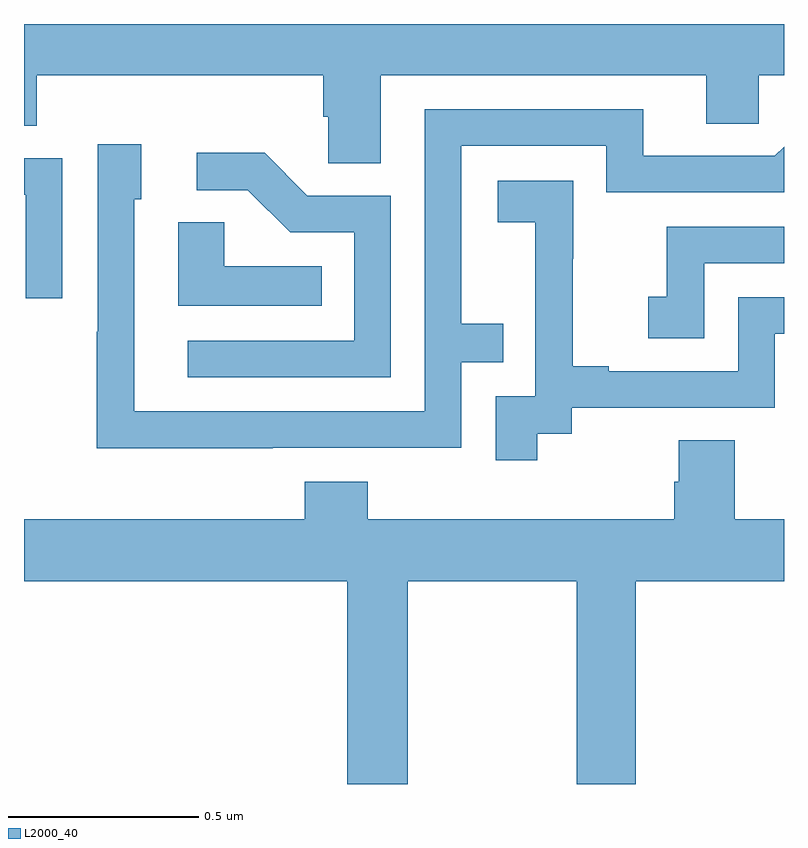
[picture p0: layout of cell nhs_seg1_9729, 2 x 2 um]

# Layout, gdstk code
import gdstk
lib = gdstk.Library(unit=1e-6, precision=1e-09)
def P(c, l, *ps):  # polygons
    for p in ps: c.add(gdstk.Polygon(p, *l))
L2000_40 = (2000, 40)

nhs_seg1_9729 = lib.new_cell('nhs_seg1_9729')
P(nhs_seg1_9729, L2000_40, [(232.939,553.064),(233.795,553.064),(233.795,552.937),(233.934,552.937),(233.934,553.064),(234,553.064),(234,553.199),(232,553.199),(232,552.931),(232.034,552.931),(232.034,553.064),(232.787,553.064),(232.787,552.955),(232.8,552.955),(232.8,552.832),(232.939,552.832)],
  [(232.655,552.084),(233.151,552.084),(233.151,552.309),(233.261,552.309),(233.261,552.41),(233.151,552.41),(233.151,552.879),(233.532,552.879),(233.532,552.756),(234,552.756),(234,552.876),(233.976,552.852),(233.629,552.852),(233.629,552.975),(233.055,552.975),(233.055,552.18),(232.29,552.18),(232.29,552.738),(232.309,552.738),(232.309,552.883),(232.194,552.883),(232.194,552.389),(232.192,552.389),(232.192,552.083),(232.655,552.083)],
  [(232.965,552.747),(232.746,552.747),(232.633,552.86),(232.455,552.86),(232.455,552.762),(232.589,552.762),(232.7,552.651),(232.869,552.651),(232.869,552.366),(232.431,552.366),(232.431,552.27),(232.965,552.27)],
  [(232.101,552.846),(232,552.846),(232,552.75),(232.005,552.75),(232.005,552.477),(232.101,552.477)],
  [(233.35,552.121),(233.442,552.121),(233.442,552.189),(233.976,552.189),(233.976,552.384),(234,552.384),(234,552.48),(233.88,552.48),(233.88,552.285),(233.539,552.285),(233.539,552.298),(233.444,552.298),(233.444,552.581),(233.445,552.581),(233.445,552.787),(233.247,552.787),(233.247,552.677),(233.345,552.677),(233.345,552.449),(233.346,552.449),(233.346,552.219),(233.241,552.219),(233.241,552.051),(233.35,552.051)],
  [(232.784,552.562),(232.527,552.562),(232.527,552.677),(232.406,552.677),(232.406,552.458),(232.784,552.458)],
  [(233.79,552.57),(234,552.57),(234,552.666),(233.692,552.666),(233.692,552.481),(233.643,552.481),(233.643,552.372),(233.79,552.372)],
  [(233.01,551.732),(233.455,551.732),(233.455,551.199),(233.61,551.199),(233.61,551.732),(234,551.732),(234,551.896),(233.871,551.896),(233.871,552.104),(233.723,552.104),(233.723,551.994),(233.711,551.994),(233.711,551.896),(232.904,551.896),(232.904,551.995),(232.739,551.995),(232.739,551.896),(232,551.896),(232,551.732),(232.85,551.732),(232.85,551.199),(233.01,551.199)])

lib.write_gds('nhs_seg1_9729.gds')
